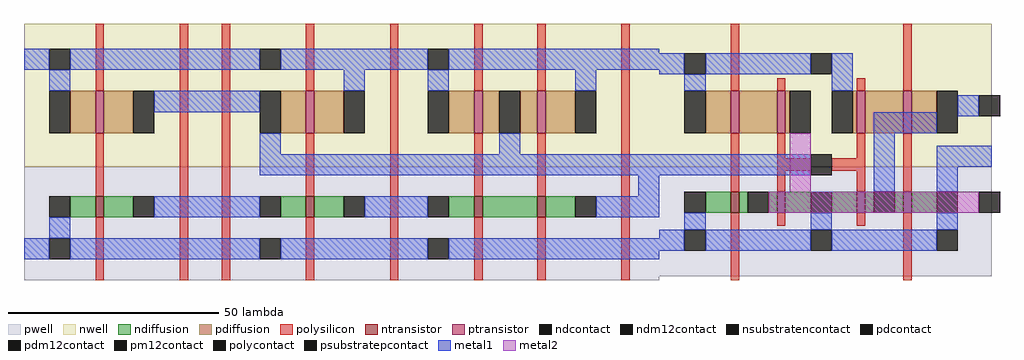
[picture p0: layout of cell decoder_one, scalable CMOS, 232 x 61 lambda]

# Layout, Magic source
magic
tech scmos
<< nwell >>
rect 125 -2 276 32
<< pwell >>
rect 125 -29 276 -2
<< ntransistor >>
rect 142 -14 144 -9
rect 192 -14 194 -9
rect 232 -14 234 -9
rect 247 -14 249 -9
<< ptransistor >>
rect 142 6 144 16
rect 192 6 194 16
rect 232 6 234 16
rect 247 6 249 16
<< ndiffusion >>
rect 136 -14 142 -9
rect 144 -14 151 -9
rect 186 -14 192 -9
rect 194 -14 201 -9
rect 226 -14 232 -9
rect 234 -14 247 -9
rect 249 -14 256 -9
<< pdiffusion >>
rect 136 6 142 16
rect 144 6 151 16
rect 186 6 192 16
rect 194 6 201 16
rect 226 6 232 16
rect 234 6 238 16
rect 243 6 247 16
rect 249 6 256 16
<< ndcontact >>
rect 131 -14 136 -9
rect 151 -14 156 -9
rect 181 -14 186 -9
rect 201 -14 206 -9
rect 221 -14 226 -9
rect 256 -14 261 -9
<< pdcontact >>
rect 131 6 136 16
rect 151 6 156 16
rect 181 6 186 16
rect 201 6 206 16
rect 221 6 226 16
rect 238 6 243 16
rect 256 6 261 16
<< psubstratepcontact >>
rect 131 -24 136 -19
rect 181 -24 186 -19
rect 221 -24 226 -19
<< nsubstratencontact >>
rect 131 21 136 26
rect 181 21 186 26
rect 221 21 226 26
<< polysilicon >>
rect 142 16 144 32
rect 142 -9 144 6
rect 142 -29 144 -14
rect 162 -29 164 32
rect 172 -29 174 32
rect 192 16 194 32
rect 192 -9 194 6
rect 192 -29 194 -14
rect 212 -29 214 32
rect 232 16 234 32
rect 247 16 249 32
rect 232 -9 234 6
rect 247 -9 249 6
rect 232 -29 234 -14
rect 247 -29 249 -14
rect 267 -29 269 32
<< metal1 >>
rect 125 21 131 26
rect 136 21 181 26
rect 186 21 221 26
rect 226 21 276 26
rect 131 16 136 21
rect 201 16 206 21
rect 156 11 181 16
rect 221 16 226 21
rect 256 16 261 21
rect 181 1 186 6
rect 238 1 243 6
rect 181 -4 276 1
rect 271 -9 276 -4
rect 156 -14 181 -9
rect 206 -14 221 -9
rect 261 -14 276 -9
rect 131 -19 136 -14
rect 125 -24 131 -19
rect 136 -24 181 -19
rect 186 -24 221 -19
rect 226 -24 276 -19
use decoder_nor2  decoder_nor2_0
transform 1 0 208 0 1 -53
box 68 24 147 85
<< end >>

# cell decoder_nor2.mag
magic
tech scmos
<< nwell >>
rect 68 51 147 85
<< pwell >>
rect 68 25 147 51
<< ntransistor >>
rect 85 40 87 45
rect 96 40 98 45
rect 115 40 117 45
rect 126 40 128 45
<< ptransistor >>
rect 85 59 87 69
rect 96 59 98 69
rect 115 59 117 69
rect 126 59 128 69
<< ndiffusion >>
rect 79 40 85 45
rect 87 40 89 45
rect 94 40 96 45
rect 98 40 104 45
rect 109 40 115 45
rect 117 40 119 45
rect 124 40 126 45
rect 128 40 134 45
<< pdiffusion >>
rect 79 59 85 69
rect 87 59 96 69
rect 98 59 99 69
rect 114 59 115 69
rect 117 59 126 69
rect 128 59 134 69
<< ndcontact >>
rect 74 40 79 45
rect 104 40 109 45
rect 119 40 124 45
rect 134 40 139 45
<< pdcontact >>
rect 74 59 79 69
rect 109 59 114 69
rect 134 59 139 69
<< psubstratepcontact >>
rect 74 31 79 36
rect 104 31 109 36
rect 134 31 139 36
<< nsubstratencontact >>
rect 74 73 79 78
rect 104 73 109 78
<< polysilicon >>
rect 85 69 87 85
rect 96 69 98 72
rect 115 69 117 72
rect 126 69 128 85
rect 85 45 87 59
rect 96 53 98 59
rect 96 50 104 53
rect 96 45 98 50
rect 115 53 117 59
rect 109 50 117 53
rect 115 45 117 50
rect 126 45 128 59
rect 85 24 87 40
rect 96 37 98 40
rect 115 37 117 40
rect 126 24 128 40
<< polycontact >>
rect 144 63 149 68
rect 104 49 109 54
<< metal1 >>
rect 68 73 74 78
rect 79 73 104 78
rect 74 69 79 73
rect 109 69 114 78
rect 119 59 134 64
rect 139 63 144 68
rect 68 49 104 54
rect 119 45 124 59
rect 134 51 147 56
rect 134 45 139 51
rect 74 36 79 40
rect 104 36 109 40
rect 134 36 139 40
rect 68 31 74 36
rect 79 31 104 36
rect 109 31 134 36
<< pm12contact >>
rect 144 40 149 45
<< pdm12contact >>
rect 99 59 104 69
<< ndm12contact >>
rect 89 40 94 45
<< metal2 >>
rect 99 45 104 59
rect 94 40 144 45
<< labels >>
rlabel polysilicon 85 83 87 85 5 phi0
rlabel polysilicon 126 83 128 85 5 phi1
rlabel metal1 68 73 72 78 3 Vdd!
rlabel metal1 68 31 72 36 3 GND!
rlabel metal1 68 49 73 54 3 in
rlabel polycontact 144 63 149 68 7 out1
rlabel pm12contact 144 40 149 45 7 out2
<< end >>
